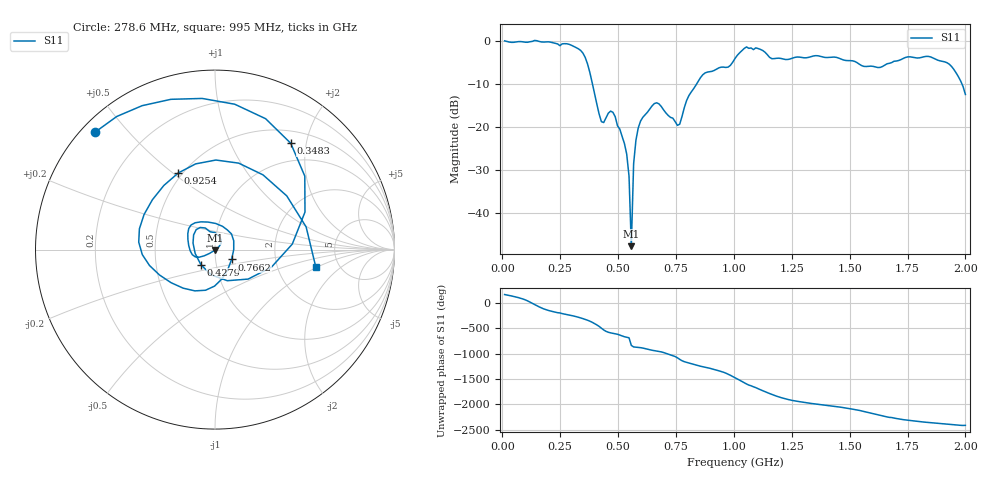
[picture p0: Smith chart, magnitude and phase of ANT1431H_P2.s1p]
!Created with skrf (http://scikit-rf.org).
# Hz S RI R 50.0
!freq ReS11 ImS11
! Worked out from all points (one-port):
!   201 points, 10 MHz to 2 GHz, reference 50 ohm
!   lowest |S11| = -47.8 dB at 557.2 MHz (marker M1), VSWR 1.01, Z = 49.8 - j0.367 ohm
!   |S11| at or under -10 dB: 389.5 MHz to 838.8 MHz (449.3 MHz wide, 73.2 % of centre); 1.985 GHz to end of sweep
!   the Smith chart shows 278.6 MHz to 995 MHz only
!   S11 on the Smith chart (normalised r, x): 278.6 MHz: 0.04, +0.41; 348.3 MHz: 0.69, +1.73; 427.9 MHz: 0.84, -0.14; 766.2 MHz: 1.20, -0.13; 925.4 MHz: 0.48, +0.52; 995 MHz: 3.35, -0.95
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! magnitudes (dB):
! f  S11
! 10 MHz  0.1
! 258.8 MHz  -0.6
! 278.6 MHz  -0.6
! 348.3 MHz  -2.8
! 427.9 MHz  -18.8
! 467.7 MHz  -16.3
! 507.5 MHz  -20.5
! 537.4 MHz  -26.4
! 547.3 MHz  -31.5
! 557.2 MHz  -47.8
! 567.2 MHz  -28.6
! 577.1 MHz  -23.1
! 597 MHz  -18.6
! 666.7 MHz  -14.4
! 756.2 MHz  -19.6
! 766.2 MHz  -19.4
! 796 MHz  -13.8
! 855.8 MHz  -8.5
! 925.4 MHz  -6.5
! 995 MHz  -4.9
! 1.005 GHz  -4.0
! 1.055 GHz  -1.3
! 1.254 GHz  -3.9
! 1.502 GHz  -4.5
! 1.632 GHz  -6.1
! 1.751 GHz  -3.6
! 1.93 GHz  -5.3
! 2 GHz  -12.4
